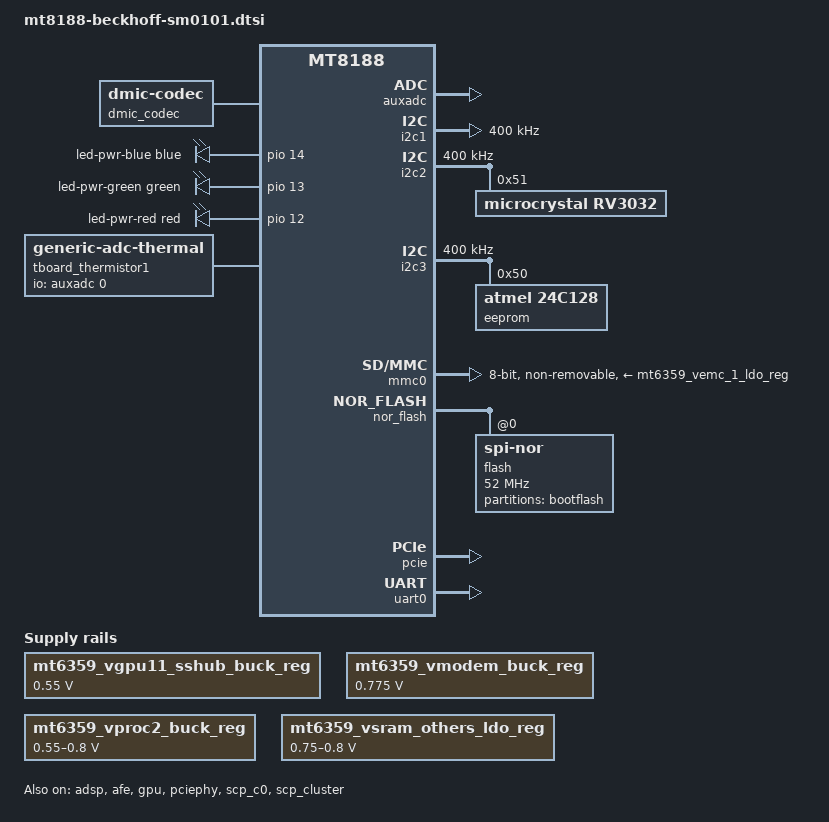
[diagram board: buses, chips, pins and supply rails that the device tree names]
// SPDX-License-Identifier: (GPL-2.0 OR MIT)
/*
 * Copyright (C) 2025 Beckhoff Automation GmbH & Co. KG
 */

/*
 * SM0101
 *	PCIe controller
 *	RTC
 *	PWR LED
 *	EEPROM
 */

#include "mt6359.dtsi"
#include <dt-bindings/gpio/gpio.h>
#include <dt-bindings/input/input.h>
#include <dt-bindings/interrupt-controller/irq.h>
#include <dt-bindings/pinctrl/mediatek,mt8188-pinfunc.h>
#include <dt-bindings/regulator/mediatek,mt6360-regulator.h>
#include <dt-bindings/spmi/spmi.h>
#include <dt-bindings/usb/pd.h>
#include <dt-bindings/leds/common.h>

/ {
	aliases {
		eth0 = &eth;
		ethernet0 = &eth;
		i2c0 = &i2c0;
		i2c1 = &i2c1;
		i2c2 = &i2c2;
		i2c3 = &i2c3;
		i2c4 = &i2c4;
		i2c5 = &i2c5;
		i2c6 = &i2c6;
		mmc0 = &mmc0;
		mmc1 = &mmc1;
		serial0 = &uart0;
	};

	chosen {
		stdout-path = "serial0:921600n8";
	};

	dmic_codec: dmic-codec {
		compatible = "dmic-codec";
		num-channels = <2>;
		#sound-dai-cells = <0>;
		wakeup-delay-ms = <30>;
	};

	firmware {
		optee {
			compatible = "linaro,optee-tz";
			method = "smc";
		};
	};

	leds {
		compatible = "gpio-leds";

		status = "okay";

		led-pwr-blue {
			color = <LED_COLOR_ID_BLUE>;
			default-state = "off";
			function = LED_FUNCTION_HEARTBEAT;
			gpios = <&pio 14 GPIO_ACTIVE_HIGH>;
		};

		led-pwr-green {
			color = <LED_COLOR_ID_GREEN>;
			default-state = "on";
			function = LED_FUNCTION_POWER;
			gpios = <&pio 13 GPIO_ACTIVE_HIGH>;
			linux,default-trigger = "default-on";
		};

		led-pwr-red {
			color = <LED_COLOR_ID_RED>;
			default-state = "off";
			function = LED_FUNCTION_PANIC;
			gpios = <&pio 12 GPIO_ACTIVE_HIGH>;
			panic-indicator;
		};
	};

	reserved-memory {
		ranges;
		#address-cells = <2>;
		#size-cells = <2>;

		/*
		 * 12 MiB reserved for OP-TEE (BL32)
		 * +-----------------------+ 0x43e0_0000
		 * |      SHMEM 2MiB       |
		 * +-----------------------+ 0x43c0_0000
		 * |        | TA_RAM  8MiB |
		 * + TZDRAM +--------------+ 0x4340_0000
		 * |        | TEE_RAM 2MiB |
		 * +-----------------------+ 0x4320_0000
		 */
		optee_reserved: optee@43200000 {
			reg = <0 0x43200000 0 0x00c00000>;
			no-map;
		};

		scp_mem: memory@50000000 {
			compatible = "shared-dma-pool";
			reg = <0 0x50000000 0 0x2900000>;
			no-map;
		};

		/* 2 MiB reserved for ARM Trusted Firmware (BL31) */
		bl31_secmon_reserved: memory@54600000 {
			reg = <0 0x54600000 0x0 0x200000>;
			no-map;
		};

		apu_mem: memory@55000000 {
			compatible = "shared-dma-pool";
			reg = <0 0x55000000 0 0x1400000>; /* 20 MB */
		};

		vpu_mem: memory@57000000 {
			compatible = "shared-dma-pool";
			reg = <0 0x57000000 0 0x1400000>; /* 20 MB */
		};

		adsp_mem: memory@60000000 {
			compatible = "shared-dma-pool";
			reg = <0 0x60000000 0 0xf00000>;
			no-map;
		};

		afe_dma_mem: memory@60f00000 {
			compatible = "shared-dma-pool";
			reg = <0 0x60f00000 0 0x100000>;
			no-map;
		};

		adsp_dma_mem: memory@61000000 {
			compatible = "shared-dma-pool";
			reg = <0 0x61000000 0 0x100000>;
			no-map;
		};
	};

	tboard_thermistor1: thermal-sensor1 {
		compatible = "generic-adc-thermal";
		io-channels = <&auxadc 0>;
		io-channel-names = "sensor-channel";
		temperature-lookup-table = <(-50000) 1457>,
					   <(-45000) 1435>,
					   <(-40000) 1405>,
					   <(-35000) 1363>,
					   <(-30000) 1309>,
					   <(-25000) 1241>,
					   <(-20000) 1159>,
					   <(-15000) 1063>,
					   <(-10000) 959>,
					   <(-5000) 849>,
					   <0 738>,
					   <5000 632>,
					   <10000 534>,
					   <15000 447>,
					   <20000 371>,
					   <25000 306>,
					   <30000 252>,
					   <35000 207>,
					   <40000 170>,
					   <45000 140>,
					   <50000 115>,
					   <55000 95>,
					   <60000 79>,
					   <65000 66>,
					   <70000 55>,
					   <75000 46>,
					   <80000 39>,
					   <85000 33>,
					   <90000 28>,
					   <95000 24>,
					   <100000 20>,
					   <105000 17>,
					   <110000 15>,
					   <115000 13>,
					   <120000 11>,
					   <125000 10>,
					   <130000 8>,
					   <135000 7>,
					   <140000 7>,
					   <145000 6>,
					   <150000 5>;
		#thermal-sensor-cells = <0>;
	};
};

&adsp {
	memory-region = <&adsp_dma_mem>, <&adsp_mem>;

	status = "okay";
};

&afe {
	memory-region = <&afe_dma_mem>;

	status = "okay";
};

&auxadc {
	status = "okay";
};

&gpu {
	mali-supply = <&mt6359_vproc2_buck_reg>;

	status = "okay";
};

/* MA5721 */
&i2c1 {
	clock-frequency = <400000>;
	pinctrl-0 = <&i2c1_pin>;
	pinctrl-names = "default";

	status = "okay";
};

/* ext RTC */
&i2c2 {
	clock-frequency = <400000>;
	pinctrl-0 = <&i2c2_pin>;
	pinctrl-names = "default";

	status = "okay";

	rv3032: rtc@51 {
		compatible = "microcrystal,rv3032";
		reg = <0x51>;
	};
};

/* EEPROM */
&i2c3 {
	clock-frequency = <400000>;
	pinctrl-0 = <&i2c3_pin>;
	pinctrl-names = "default";

	status = "okay";

	eeprom@50 {
		compatible = "atmel,24c128";
		reg = <0x50>;
		pagesize = <64>;

		nvmem-layout {
			compatible = "fixed-layout";
			#address-cells = <1>;
			#size-cells = <1>;

			identifier: identifier@0 {
				reg = <0x00 0x20>;
			};

			version: version@20 {
				reg = <0x20 0x04>;
			};

			model: model@24 {
				reg = <0x24 0x10>;
			};

			btn: btn@34 {
				reg = <0x34 0x10>;
			};

			interface: interface@44 {
				reg = <0x44 0x20>;
			};

			eth0_addr: eth-mac-addr@64 {
				reg = <0x64 0x06>;
			};

			eth1_addr: eth-mac-addr@6a {
				reg = <0x6a 0x06>;
			};

			eth2_addr: eth-mac-addr@70 {
				reg = <0x70 0x06>;
			};

			eth3_addr: eth-mac-addr@76 {
				reg = <0x76 0x06>;
			};

			eth4_addr: eth-mac-addr@7c {
				reg = <0x7c 0x06>;
			};

			asset_tag: asset-tag@104 {
				reg = <0x104 0x20>;
			};

			ram_size: ram-size@164 {
				reg = <0x164 0x08>;
			};

			boot_order: boot-order@16c {
				reg = <0x16c 0x0c>;
			};
		};
	};
};

&mfg0 {
	domain-supply = <&mt6359_vproc2_buck_reg>;
};

&mfg1 {
	domain-supply = <&mt6359_vsram_others_ldo_reg>;
};

&mmc0 {
	bus-width = <8>;
	cap-mmc-highspeed;
	cap-mmc-hw-reset;
	hs400-ds-delay = <0x1481b>;
	max-frequency = <200000000>;
	mmc-hs200-1_8v;
	mmc-hs400-1_8v;
	no-sd;
	no-sdio;
	non-removable;
	pinctrl-0 = <&mmc0_default_pins>;
	pinctrl-1 = <&mmc0_uhs_pins>;
	pinctrl-names = "default", "state_uhs";
	supports-cqe;
	vmmc-supply = <&mt6359_vemc_1_ldo_reg>;
	vqmmc-supply = <&mt6359_vufs_ldo_reg>;

	status = "okay";
};

&mt6359_vbbck_ldo_reg {
	regulator-always-on;
};

&mt6359_vcn18_ldo_reg {
	regulator-always-on;
	regulator-name = "vcn18_pmu";
};

&mt6359_vcn33_2_ldo_reg {
	regulator-always-on;
	regulator-name = "vcn33_2_pmu";
};

&mt6359_vcore_buck_reg {
	regulator-always-on;
	regulator-name = "dvdd_proc_l";
};

&mt6359_vgpu11_buck_reg {
	regulator-always-on;
	regulator-name = "dvdd_core";
};

&mt6359_vgpu11_sshub_buck_reg {
	regulator-always-on;
	regulator-max-microvolt = <550000>;
	regulator-min-microvolt = <550000>;
};

&mt6359_vmodem_buck_reg {
	regulator-max-microvolt = <775000>;
	regulator-min-microvolt = <775000>;
};

&mt6359_vpa_buck_reg {
	regulator-max-microvolt = <3100000>;
	regulator-name = "vpa_pmu";
};

&mt6359_vproc2_buck_reg {
	regulator-always-on;
	regulator-coupled-max-spread = <6250>;
	regulator-coupled-with = <&mt6359_vsram_others_ldo_reg>;
	regulator-max-microvolt = <800000>;
	regulator-min-microvolt = <550000>;
	/* The name "vgpu" is required by mtk-regulator-coupler */
	regulator-name = "vgpu";
};

&mt6359_vpu_buck_reg {
	regulator-always-on;
	regulator-name = "dvdd_adsp";
};

&mt6359_vrf12_ldo_reg {
	regulator-always-on;
	regulator-name = "va12_abb2_pmu";
};

&mt6359_vsim1_ldo_reg {
	regulator-enable-ramp-delay = <480>;
	regulator-name = "vsim1_pmu";
};

&mt6359_vsram_others_ldo_reg {
	regulator-coupled-max-spread = <6250>;
	regulator-coupled-with = <&mt6359_vproc2_buck_reg>;
	regulator-max-microvolt = <800000>;
	regulator-min-microvolt = <750000>;
	/* The name "vsram_gpu" is required by mtk-regulator-coupler */
	regulator-name = "vsram_gpu";
};

&mt6359_vufs_ldo_reg {
	regulator-always-on;
	regulator-name = "vufs18_pmu";
};

&mt6359codec {
	mediatek,mic-type-0 = <1>; /* ACC */
	mediatek,mic-type-1 = <3>; /* DCC */
};

&mt6359rtc {
	status = "disabled";
};

&nor_flash {
	pinctrl-0 = <&nor_pins>;
	pinctrl-names = "default";

	status = "okay";

	flash@0 {
		compatible = "jedec,spi-nor";
		reg = <0>;
		spi-max-frequency = <52000000>;
		spi-rx-bus-width = <4>;
		spi-tx-bus-width = <4>;

		partitions {
			compatible = "fixed-partitions";
			#address-cells = <1>;
			#size-cells = <1>;

			partition@0 {
				reg = <0x0 0x800000>;
				label = "bootflash";
			};
		};
	};
};

&pcie {
	pinctrl-0 = <&pcie_default_pins>;
	pinctrl-names = "default";

	status = "okay";
};

&pciephy {
	status = "okay";
};

&pio {
	i2c1_pin: i2c1-pins {
		pins-bus {
			bias-pull-up = <MTK_PULL_SET_RSEL_011>;
			drive-strength-microamp = <1000>;
			pinmux = <PINMUX_GPIO58__FUNC_B1_SDA1>,
				 <PINMUX_GPIO57__FUNC_B1_SCL1>;
		};
	};

	i2c2_pin: i2c2-pins {
		pins-bus {
			bias-pull-up = <MTK_PULL_SET_RSEL_011>;
			drive-strength-microamp = <1000>;
			pinmux = <PINMUX_GPIO60__FUNC_B1_SDA2>,
				 <PINMUX_GPIO59__FUNC_B1_SCL2>;
		};
	};

	i2c3_pin: i2c3-pins {
		pins-bus {
			bias-pull-up = <MTK_PULL_SET_RSEL_011>;
			drive-strength-microamp = <1000>;
			pinmux = <PINMUX_GPIO62__FUNC_B1_SDA3>,
				 <PINMUX_GPIO61__FUNC_B1_SCL3>;
		};
	};

	mmc0_default_pins: mmc0-default-pins {
		pins-clk {
			bias-pull-down = <MTK_PUPD_SET_R1R0_10>;
			drive-strength = <6>;
			pinmux = <PINMUX_GPIO157__FUNC_B1_MSDC0_CLK>;
		};

		pins-cmd-dat {
			bias-pull-up = <MTK_PUPD_SET_R1R0_01>;
			drive-strength = <6>;
			input-enable;
			pinmux = <PINMUX_GPIO161__FUNC_B1_MSDC0_DAT0>,
				 <PINMUX_GPIO160__FUNC_B1_MSDC0_DAT1>,
				 <PINMUX_GPIO159__FUNC_B1_MSDC0_DAT2>,
				 <PINMUX_GPIO158__FUNC_B1_MSDC0_DAT3>,
				 <PINMUX_GPIO154__FUNC_B1_MSDC0_DAT4>,
				 <PINMUX_GPIO153__FUNC_B1_MSDC0_DAT5>,
				 <PINMUX_GPIO152__FUNC_B1_MSDC0_DAT6>,
				 <PINMUX_GPIO151__FUNC_B1_MSDC0_DAT7>,
				 <PINMUX_GPIO156__FUNC_B1_MSDC0_CMD>;
		};

		pins-rst {
			bias-pull-up = <MTK_PUPD_SET_R1R0_01>;
			drive-strength = <6>;
			pinmux = <PINMUX_GPIO155__FUNC_O_MSDC0_RSTB>;
		};
	};

	mmc0_uhs_pins: mmc0-uhs-pins {
		pins-clk-ds {
			bias-pull-down = <MTK_PUPD_SET_R1R0_10>;
			drive-strength = <8>;
			pinmux = <PINMUX_GPIO157__FUNC_B1_MSDC0_CLK>,
				 <PINMUX_GPIO162__FUNC_B0_MSDC0_DSL>;
		};

		pins-cmd-dat {
			bias-pull-up = <MTK_PUPD_SET_R1R0_01>;
			drive-strength = <8>;
			input-enable;
			pinmux = <PINMUX_GPIO161__FUNC_B1_MSDC0_DAT0>,
				 <PINMUX_GPIO160__FUNC_B1_MSDC0_DAT1>,
				 <PINMUX_GPIO159__FUNC_B1_MSDC0_DAT2>,
				 <PINMUX_GPIO158__FUNC_B1_MSDC0_DAT3>,
				 <PINMUX_GPIO154__FUNC_B1_MSDC0_DAT4>,
				 <PINMUX_GPIO153__FUNC_B1_MSDC0_DAT5>,
				 <PINMUX_GPIO152__FUNC_B1_MSDC0_DAT6>,
				 <PINMUX_GPIO151__FUNC_B1_MSDC0_DAT7>,
				 <PINMUX_GPIO156__FUNC_B1_MSDC0_CMD>;
		};

		pins-rst {
			bias-pull-up = <MTK_PUPD_SET_R1R0_01>;
			drive-strength = <8>;
			pinmux = <PINMUX_GPIO155__FUNC_O_MSDC0_RSTB>;
		};
	};

	nor_pins: nor-default-pins {
		pins-clk {
			bias-pull-down;
			pinmux = <PINMUX_GPIO127__FUNC_B0_SPINOR_IO0>,
				 <PINMUX_GPIO125__FUNC_O_SPINOR_CK>,
				 <PINMUX_GPIO128__FUNC_B0_SPINOR_IO1>,
				 <PINMUX_GPIO129__FUNC_B0_SPINOR_IO2>,
				 <PINMUX_GPIO130__FUNC_B0_SPINOR_IO3>;
		};

		pins-cs {
			bias-pull-up;
			pinmux = <PINMUX_GPIO126__FUNC_O_SPINOR_CS>;
		};
	};

	pcie_default_pins: pcie-default-pins {
		pins {
			bias-pull-up;
			pinmux = <PINMUX_GPIO47__FUNC_I1_WAKEN>,
				 <PINMUX_GPIO48__FUNC_O_PERSTN>,
				 <PINMUX_GPIO49__FUNC_B1_CLKREQN>;
		};
	};

	uart0_pins: uart0-pins {
		pins {
			bias-pull-up;
			pinmux = <PINMUX_GPIO31__FUNC_O_UTXD0>,
				 <PINMUX_GPIO32__FUNC_I1_URXD0>;
		};
	};
};

&pmic {
	interrupt-parent = <&pio>;
	interrupts = <222 IRQ_TYPE_LEVEL_HIGH>;

	mt6359keys: keys {
		compatible = "mediatek,mt6359-keys";
		power-off-time-sec = <0>;
		mediatek,long-press-mode = <1>;

		power-key {
			wakeup-source;
			linux,keycodes = <KEY_POWER>;
		};
	};
};

&scp_c0 {
	firmware-name = "mediatek/mt8188/scp.img";
	memory-region = <&scp_mem>;

	status = "okay";
};

&scp_cluster {
	status = "okay";
};

&thermal_zones {
	tboard1-thermal {
		polling-delay = <1000>; /* milliseconds */
		polling-delay-passive = <0>; /* milliseconds */
		thermal-sensors = <&tboard_thermistor1>;
	};
};

&uart0 {
	pinctrl-0 = <&uart0_pins>;
	pinctrl-names = "default";

	status = "okay";
};
